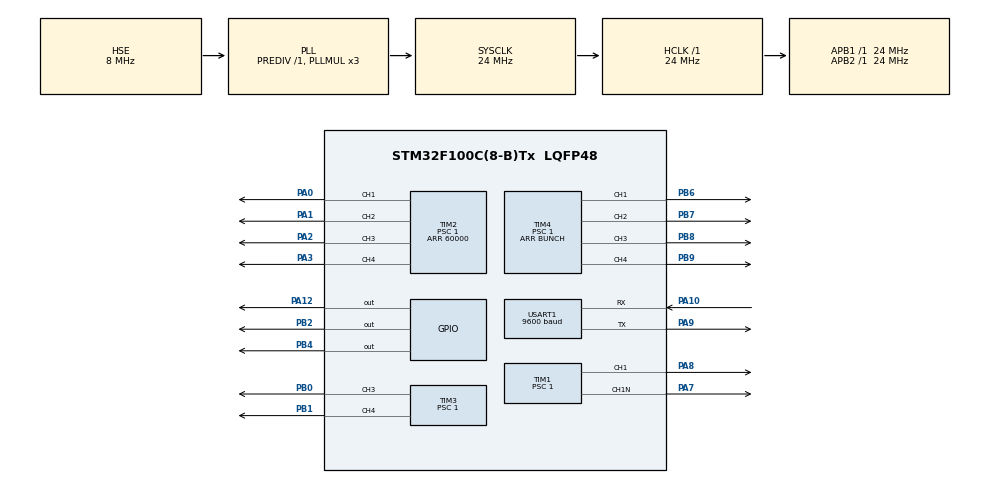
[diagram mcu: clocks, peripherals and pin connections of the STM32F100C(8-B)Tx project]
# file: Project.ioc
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Dma.Request0=USART1_TX
Dma.USART1_TX.0.Direction=DMA_MEMORY_TO_PERIPH
Dma.USART1_TX.0.Instance=DMA1_Channel4
Dma.USART1_TX.0.MemDataAlignment=DMA_MDATAALIGN_BYTE
Dma.USART1_TX.0.MemInc=DMA_MINC_ENABLE
Dma.USART1_TX.0.Mode=DMA_NORMAL
Dma.USART1_TX.0.PeriphDataAlignment=DMA_PDATAALIGN_BYTE
Dma.USART1_TX.0.PeriphInc=DMA_PINC_DISABLE
Dma.USART1_TX.0.Priority=DMA_PRIORITY_LOW
FREERTOS.Tasks01=defaultTask,0,128,StartDefaultTask,Default,NULL
FREERTOS.configTIMER_TASK_STACK_DEPTH=128
FREERTOS.configUSE_TIMERS=1
Mcu.Family=STM32F1
Mcu.Name=STM32F100C(8-B)Tx
Mcu.Package=LQFP48
Mcu.UserConstants=TIMER_PERIOD,5001;BUNCH,60023;BUNCH_DUTY,20000;GAP_PERIOD,2500;GAP_START,2000;GAP_STOP,2200
NVIC.DMA1_Channel4_IRQn=true\:5\:0\:false\:false\:true\:true\:false
NVIC.PriorityGroup=NVIC_PRIORITYGROUP_4
NVIC.TIM1_TRG_COM_TIM17_IRQn=true\:0\:0\:false\:false\:true\:false\:false
NVIC.TIM7_IRQn=true\:0\:0\:false\:false\:true\:false\:false
NVIC.TimeBase=TIM7_IRQn
NVIC.TimeBaseIP=TIM7
NVIC.USART1_IRQn=true\:5\:0\:false\:false\:true\:true\:true
PA0-WKUP.GPIO_Speed=GPIO_SPEED_FREQ_HIGH
PA0-WKUP.Signal=S_TIM2_CH1_ETR
PA1.GPIO_ModeDefaultPP=GPIO_MODE_AF_OD
PA1.GPIO_Speed=GPIO_SPEED_FREQ_HIGH
PA1.Signal=S_TIM2_CH2
PA10.Mode=Asynchronous
PA10.Signal=USART1_RX
PA12.Signal=GPIO_Output
PA13.Mode=Serial_Wire
PA13.Signal=SYS_JTMS-SWDIO
PA14.Mode=Serial_Wire
PA14.Signal=SYS_JTCK-SWCLK
PA2.GPIO_Speed=GPIO_SPEED_FREQ_HIGH
PA2.Signal=S_TIM2_CH3
PA3.GPIO_ModeDefaultPP=GPIO_MODE_AF_OD
PA3.GPIO_Speed=GPIO_SPEED_FREQ_HIGH
PA3.Signal=S_TIM2_CH4
PA7.GPIO_Speed=GPIO_SPEED_FREQ_HIGH
PA7.Mode=PWM Generation1 CH1 CH1N
PA7.Signal=TIM1_CH1N
PA8.GPIO_Speed=GPIO_SPEED_FREQ_HIGH
PA8.Signal=S_TIM1_CH1
PA9.Mode=Asynchronous
PA9.Signal=USART1_TX
PB0.GPIO_Speed=GPIO_SPEED_FREQ_HIGH
PB0.Signal=S_TIM3_CH3
PB1.GPIO_ModeDefaultPP=GPIO_MODE_AF_OD
PB1.GPIO_Speed=GPIO_SPEED_FREQ_HIGH
PB1.Signal=S_TIM3_CH4
PB2.Signal=GPIO_Output
PB4.GPIO_ModeDefaultOutputPP=GPIO_MODE_OUTPUT_OD
PB4.Signal=GPIO_Output
PB6.Signal=S_TIM4_CH1
PB7.Signal=S_TIM4_CH2
PB8.Signal=S_TIM4_CH3
PB9.GPIO_ModeDefaultPP=GPIO_MODE_AF_OD
PB9.GPIO_Speed=GPIO_SPEED_FREQ_HIGH
PB9.Signal=S_TIM4_CH4
PD0-OSC_IN.Mode=HSE-External-Oscillator
PD0-OSC_IN.Signal=RCC_OSC_IN
PD1-OSC_OUT.Mode=HSE-External-Oscillator
PD1-OSC_OUT.Signal=RCC_OSC_OUT
ProjectManager.HeapSize=0x200
ProjectManager.StackSize=0x400
ProjectManager.TargetToolchain=SW4STM32
RCC.AHBFreq_Value=24000000
RCC.APB1Freq_Value=24000000
RCC.APB1TimFreq_Value=24000000
RCC.APB2Freq_Value=24000000
RCC.APB2TimFreq_Value=24000000
RCC.HCLKFreq_Value=24000000
RCC.PLLMUL=RCC_PLL_MUL3
RCC.PLLSource=RCC_PLLSOURCE_HSE
RCC.SYSCLKFreq_VALUE=24000000
RCC.SYSCLKSource=RCC_SYSCLKSOURCE_PLLCLK
SH.S_TIM1_CH1.0=TIM1_CH1,PWM Generation1 CH1 CH1N
SH.S_TIM2_CH1_ETR.0=TIM2_CH1,PWM Generation1 CH1
SH.S_TIM2_CH2.0=TIM2_CH2,PWM Generation2 CH2
SH.S_TIM2_CH3.0=TIM2_CH3,PWM Generation3 CH3
SH.S_TIM2_CH4.0=TIM2_CH4,PWM Generation4 CH4
SH.S_TIM3_CH3.0=TIM3_CH3,PWM Generation3 CH3
SH.S_TIM3_CH4.0=TIM3_CH4,PWM Generation4 CH4
SH.S_TIM4_CH1.0=TIM4_CH1,PWM Generation1 CH1
SH.S_TIM4_CH2.0=TIM4_CH2,PWM Generation2 CH2
SH.S_TIM4_CH3.0=TIM4_CH3,PWM Generation3 CH3
SH.S_TIM4_CH4.0=TIM4_CH4,PWM Generation4 CH4
TIM1.AutoReloadPreload=TIM_AUTORELOAD_PRELOAD_ENABLE
TIM1.Channel-PWM\ Generation1\ CH1\ CH1N=TIM_CHANNEL_1
TIM1.DeadTime=4
TIM1.Period=TIMER_PERIOD
TIM1.Prescaler=1
TIM1.Pulse-PWM\ Generation1\ CH1\ CH1N=TIMER_PERIOD/2
TIM1.TIM_MasterSlaveMode=TIM_MASTERSLAVEMODE_ENABLE
TIM2.Channel-PWM\ Generation1\ CH1=TIM_CHANNEL_1
TIM2.Channel-PWM\ Generation2\ CH2=TIM_CHANNEL_2
TIM2.Channel-PWM\ Generation3\ CH3=TIM_CHANNEL_3
TIM2.Channel-PWM\ Generation4\ CH4=TIM_CHANNEL_4
TIM2.OCPolarity_1=TIM_OCPOLARITY_LOW
TIM2.OCPolarity_3=TIM_OCPOLARITY_LOW
TIM2.Period=60000
TIM2.Prescaler=1
TIM2.Pulse-PWM\ Generation1\ CH1=5000
TIM2.Pulse-PWM\ Generation2\ CH2=10000
TIM2.Pulse-PWM\ Generation3\ CH3=10000
TIM2.Pulse-PWM\ Generation4\ CH4=15000
TIM3.AutoReloadPreload=TIM_AUTORELOAD_PRELOAD_ENABLE
TIM3.Channel-PWM\ Generation3\ CH3=TIM_CHANNEL_3
TIM3.Channel-PWM\ Generation4\ CH4=TIM_CHANNEL_4
TIM3.OCPolarity_3=TIM_OCPOLARITY_LOW
TIM3.Period=GAP_PERIOD
TIM3.Prescaler=1
TIM3.Pulse-PWM\ Generation3\ CH3=GAP_START
TIM3.Pulse-PWM\ Generation4\ CH4=GAP_STOP
TIM3.TIM_MasterSlaveMode=TIM_MASTERSLAVEMODE_ENABLE
TIM4.Channel-PWM\ Generation1\ CH1=TIM_CHANNEL_1
TIM4.Channel-PWM\ Generation2\ CH2=TIM_CHANNEL_2
TIM4.Channel-PWM\ Generation3\ CH3=TIM_CHANNEL_3
TIM4.Channel-PWM\ Generation4\ CH4=TIM_CHANNEL_4
TIM4.OCPolarity_2=TIM_OCPOLARITY_LOW
TIM4.OCPolarity_3=TIM_OCPOLARITY_LOW
TIM4.Period=BUNCH
TIM4.Prescaler=1
TIM4.Pulse-PWM\ Generation1\ CH1=1
TIM4.Pulse-PWM\ Generation2\ CH2=BUNCH_DUTY
TIM4.Pulse-PWM\ Generation3\ CH3=15000
TIM4.Pulse-PWM\ Generation4\ CH4=20000
TIM4.TIM_MasterSlaveMode=TIM_MASTERSLAVEMODE_ENABLE
USART1.BaudRate=9600
USART1.StopBits=STOPBITS_2
USART1.VirtualMode=VM_ASYNC
VP_FREERTOS_VS_ENABLE.Mode=Enabled
VP_SYS_VS_tim7.Mode=TIM7
VP_TIM1_VS_ClockSourceINT.Mode=Internal
VP_TIM1_VS_ClockSourceITR.Mode=TriggerSource_ITR0
VP_TIM2_VS_ClockSourceINT.Mode=Internal
VP_TIM2_VS_ClockSourceITR.Mode=TriggerSource_ITR0
VP_TIM2_VS_ControllerModeTrigger.Mode=Trigger Mode
VP_TIM3_VS_ClockSourceINT.Mode=Internal
VP_TIM3_VS_ClockSourceITR.Mode=TriggerSource_ITR0
VP_TIM3_VS_ControllerModeTrigger.Mode=Trigger Mode
VP_TIM4_VS_ClockSourceINT.Mode=Internal
VP_TIM4_VS_ClockSourceITR.Mode=TriggerSource_ITR0
board=custom

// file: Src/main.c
/* USER CODE BEGIN Header */
/**
  * @brief  Function implementing the defaultTask thread.
  * @param  argument: Not used
  * @retval None
  */
/* USER CODE END Header */

#include "main.h"
#include "cmsis_os.h"

/* USER CODE BEGIN Includes */
#include "common.h"
/* USER CODE END Includes */

TIM_HandleTypeDef htim1;
TIM_HandleTypeDef htim2;
TIM_HandleTypeDef htim3;
TIM_HandleTypeDef htim4;

UART_HandleTypeDef huart1;
DMA_HandleTypeDef hdma_usart1_tx;

osThreadId defaultTaskHandle;
/* USER CODE BEGIN PV */
/* Private variables ---------------------------------------------------------*/

/* USER CODE END PV */

void SystemClock_Config(void);
static void MX_GPIO_Init(void);
static void MX_DMA_Init(void);
static void MX_TIM1_Init(void);
static void MX_TIM3_Init(void);
static void MX_USART1_UART_Init(void);
static void MX_TIM2_Init(void);
static void MX_TIM4_Init(void);
void StartDefaultTask(void const * argument);

/* USER CODE BEGIN PFP */
/* Private function prototypes -----------------------------------------------*/
static void Init_GPIO_OpenDrain(void);
/* USER CODE END PFP */

/* USER CODE BEGIN 0 */
volatile UART_t Uart;
volatile State_t State;
/* USER CODE END 0 */

int main(void)
{

  /* MCU Configuration--------------------------------------------------------*/

  /* Reset of all peripherals, Initializes the Flash interface and the Systick. */
  HAL_Init();

  /* Configure the system clock */
  SystemClock_Config();

  /* Initialize all configured peripherals */
  MX_GPIO_Init();
  MX_DMA_Init();
  MX_TIM1_Init();
  MX_TIM3_Init();
  MX_USART1_UART_Init();
  MX_TIM2_Init();
  MX_TIM4_Init();
  /* USER CODE BEGIN 2 */

  //Init_GPIO_OpenDrain();
  HAL_TIM_Base_Start(&htim2);
  HAL_TIM_Base_Start(&htim3);
  HAL_TIM_Base_Start(&htim4);
  HAL_TIM_Base_Start(&htim1);
  /* USER CODE END 2 */

  /* Create the thread(s) */
  /* definition and creation of defaultTask */
  osThreadDef(defaultTask, StartDefaultTask, osPriorityNormal, 0, 128);
  defaultTaskHandle = osThreadCreate(osThread(defaultTask), NULL);

  /* Start scheduler */
  osKernelStart();

  /* We should never get here as control is now taken by the scheduler */

  /* Infinite loop */
  while (1)
  {

  }
}

void SystemClock_Config(void)
{
  RCC_OscInitTypeDef RCC_OscInitStruct = {0};
  RCC_ClkInitTypeDef RCC_ClkInitStruct = {0};

  /**Initializes the CPU, AHB and APB busses clocks
  */
  RCC_OscInitStruct.OscillatorType = RCC_OSCILLATORTYPE_HSE;
  RCC_OscInitStruct.HSEState = RCC_HSE_ON;
  RCC_OscInitStruct.HSEPredivValue = RCC_HSE_PREDIV_DIV1;
  RCC_OscInitStruct.PLL.PLLState = RCC_PLL_ON;
  RCC_OscInitStruct.PLL.PLLSource = RCC_PLLSOURCE_HSE;
  RCC_OscInitStruct.PLL.PLLMUL = RCC_PLL_MUL3;
  if (HAL_RCC_OscConfig(&RCC_OscInitStruct) != HAL_OK)
  {
    Error_Handler();
  }
  /**Initializes the CPU, AHB and APB busses clocks
  */
  RCC_ClkInitStruct.ClockType = RCC_CLOCKTYPE_HCLK|RCC_CLOCKTYPE_SYSCLK
                              |RCC_CLOCKTYPE_PCLK1|RCC_CLOCKTYPE_PCLK2;
  RCC_ClkInitStruct.SYSCLKSource = RCC_SYSCLKSOURCE_PLLCLK;
  RCC_ClkInitStruct.AHBCLKDivider = RCC_SYSCLK_DIV1;
  RCC_ClkInitStruct.APB1CLKDivider = RCC_HCLK_DIV1;
  RCC_ClkInitStruct.APB2CLKDivider = RCC_HCLK_DIV1;

  if (HAL_RCC_ClockConfig(&RCC_ClkInitStruct, FLASH_LATENCY_0) != HAL_OK)
  {
    Error_Handler();
  }
}

static void MX_TIM1_Init(void)
{

  TIM_ClockConfigTypeDef sClockSourceConfig = {0};
  TIM_SlaveConfigTypeDef sSlaveConfig = {0};
  TIM_MasterConfigTypeDef sMasterConfig = {0};
  TIM_OC_InitTypeDef sConfigOC = {0};
  TIM_BreakDeadTimeConfigTypeDef sBreakDeadTimeConfig = {0};

  htim1.Instance = TIM1;
  htim1.Init.Prescaler = 1;
  htim1.Init.CounterMode = TIM_COUNTERMODE_UP;
  htim1.Init.Period = TIMER_PERIOD;
  htim1.Init.ClockDivision = TIM_CLOCKDIVISION_DIV1;
  htim1.Init.RepetitionCounter = 0;
  htim1.Init.AutoReloadPreload = TIM_AUTORELOAD_PRELOAD_ENABLE;
  if (HAL_TIM_Base_Init(&htim1) != HAL_OK)
  {
    Error_Handler();
  }
  sClockSourceConfig.ClockSource = TIM_CLOCKSOURCE_INTERNAL;
  if (HAL_TIM_ConfigClockSource(&htim1, &sClockSourceConfig) != HAL_OK)
  {
    Error_Handler();
  }
  if (HAL_TIM_PWM_Init(&htim1) != HAL_OK)
  {
    Error_Handler();
  }
  sSlaveConfig.SlaveMode = TIM_SLAVEMODE_DISABLE;
  sSlaveConfig.InputTrigger = TIM_TS_ITR0;
  if (HAL_TIM_SlaveConfigSynchronization(&htim1, &sSlaveConfig) != HAL_OK)
  {
    Error_Handler();
  }
  sMasterConfig.MasterOutputTrigger = TIM_TRGO_RESET;
  sMasterConfig.MasterSlaveMode = TIM_MASTERSLAVEMODE_ENABLE;
  if (HAL_TIMEx_MasterConfigSynchronization(&htim1, &sMasterConfig) != HAL_OK)
  {
    Error_Handler();
  }
  sConfigOC.OCMode = TIM_OCMODE_PWM1;
  sConfigOC.Pulse = TIMER_PERIOD/2;
  sConfigOC.OCPolarity = TIM_OCPOLARITY_HIGH;
  sConfigOC.OCNPolarity = TIM_OCNPOLARITY_HIGH;
  sConfigOC.OCFastMode = TIM_OCFAST_DISABLE;
  sConfigOC.OCIdleState = TIM_OCIDLESTATE_RESET;
  sConfigOC.OCNIdleState = TIM_OCNIDLESTATE_RESET;
  if (HAL_TIM_PWM_ConfigChannel(&htim1, &sConfigOC, TIM_CHANNEL_1) != HAL_OK)
  {
    Error_Handler();
  }
  sBreakDeadTimeConfig.OffStateRunMode = TIM_OSSR_DISABLE;
  sBreakDeadTimeConfig.OffStateIDLEMode = TIM_OSSI_DISABLE;
  sBreakDeadTimeConfig.LockLevel = TIM_LOCKLEVEL_OFF;
  sBreakDeadTimeConfig.DeadTime = 4;
  sBreakDeadTimeConfig.BreakState = TIM_BREAK_DISABLE;
  sBreakDeadTimeConfig.BreakPolarity = TIM_BREAKPOLARITY_HIGH;
  sBreakDeadTimeConfig.AutomaticOutput = TIM_AUTOMATICOUTPUT_DISABLE;
  if (HAL_TIMEx_ConfigBreakDeadTime(&htim1, &sBreakDeadTimeConfig) != HAL_OK)
  {
    Error_Handler();
  }
  HAL_TIM_MspPostInit(&htim1);

}

static void MX_TIM2_Init(void)
{

  TIM_ClockConfigTypeDef sClockSourceConfig = {0};
  TIM_SlaveConfigTypeDef sSlaveConfig = {0};
  TIM_MasterConfigTypeDef sMasterConfig = {0};
  TIM_OC_InitTypeDef sConfigOC = {0};

  htim2.Instance = TIM2;
  htim2.Init.Prescaler = 1;
  htim2.Init.CounterMode = TIM_COUNTERMODE_UP;
  htim2.Init.Period = 60000;
  htim2.Init.ClockDivision = TIM_CLOCKDIVISION_DIV1;
  htim2.Init.AutoReloadPreload = TIM_AUTORELOAD_PRELOAD_DISABLE;
  if (HAL_TIM_Base_Init(&htim2) != HAL_OK)
  {
    Error_Handler();
  }
  sClockSourceConfig.ClockSource = TIM_CLOCKSOURCE_INTERNAL;
  if (HAL_TIM_ConfigClockSource(&htim2, &sClockSourceConfig) != HAL_OK)
  {
    Error_Handler();
  }
  if (HAL_TIM_PWM_Init(&htim2) != HAL_OK)
  {
    Error_Handler();
  }
  sSlaveConfig.SlaveMode = TIM_SLAVEMODE_TRIGGER;
  sSlaveConfig.InputTrigger = TIM_TS_ITR0;
  if (HAL_TIM_SlaveConfigSynchronization(&htim2, &sSlaveConfig) != HAL_OK)
  {
    Error_Handler();
  }
  sMasterConfig.MasterOutputTrigger = TIM_TRGO_RESET;
  sMasterConfig.MasterSlaveMode = TIM_MASTERSLAVEMODE_DISABLE;
  if (HAL_TIMEx_MasterConfigSynchronization(&htim2, &sMasterConfig) != HAL_OK)
  {
    Error_Handler();
  }
  sConfigOC.OCMode = TIM_OCMODE_PWM1;
  sConfigOC.Pulse = 5000;
  sConfigOC.OCPolarity = TIM_OCPOLARITY_LOW;
  sConfigOC.OCFastMode = TIM_OCFAST_DISABLE;
  if (HAL_TIM_PWM_ConfigChannel(&htim2, &sConfigOC, TIM_CHANNEL_1) != HAL_OK)
  {
    Error_Handler();
  }
  sConfigOC.Pulse = 10000;
  sConfigOC.OCPolarity = TIM_OCPOLARITY_HIGH;
  if (HAL_TIM_PWM_ConfigChannel(&htim2, &sConfigOC, TIM_CHANNEL_2) != HAL_OK)
  {
    Error_Handler();
  }
  sConfigOC.OCPolarity = TIM_OCPOLARITY_LOW;
  if (HAL_TIM_PWM_ConfigChannel(&htim2, &sConfigOC, TIM_CHANNEL_3) != HAL_OK)
  {
    Error_Handler();
  }
  sConfigOC.Pulse = 15000;
  sConfigOC.OCPolarity = TIM_OCPOLARITY_HIGH;
  if (HAL_TIM_PWM_ConfigChannel(&htim2, &sConfigOC, TIM_CHANNEL_4) != HAL_OK)
  {
    Error_Handler();
  }
  HAL_TIM_MspPostInit(&htim2);

}

static void MX_TIM3_Init(void)
{

  TIM_ClockConfigTypeDef sClockSourceConfig = {0};
  TIM_SlaveConfigTypeDef sSlaveConfig = {0};
  TIM_MasterConfigTypeDef sMasterConfig = {0};
  TIM_OC_InitTypeDef sConfigOC = {0};

  htim3.Instance = TIM3;
  htim3.Init.Prescaler = 1;
  htim3.Init.CounterMode = TIM_COUNTERMODE_UP;
  htim3.Init.Period = GAP_PERIOD;
  htim3.Init.ClockDivision = TIM_CLOCKDIVISION_DIV1;
  htim3.Init.AutoReloadPreload = TIM_AUTORELOAD_PRELOAD_ENABLE;
  if (HAL_TIM_Base_Init(&htim3) != HAL_OK)
  {
    Error_Handler();
  }
  sClockSourceConfig.ClockSource = TIM_CLOCKSOURCE_INTERNAL;
  if (HAL_TIM_ConfigClockSource(&htim3, &sClockSourceConfig) != HAL_OK)
  {
    Error_Handler();
  }
  if (HAL_TIM_PWM_Init(&htim3) != HAL_OK)
  {
    Error_Handler();
  }
  sSlaveConfig.SlaveMode = TIM_SLAVEMODE_TRIGGER;
  sSlaveConfig.InputTrigger = TIM_TS_ITR0;
  if (HAL_TIM_SlaveConfigSynchronization(&htim3, &sSlaveConfig) != HAL_OK)
  {
    Error_Handler();
  }
  sMasterConfig.MasterOutputTrigger = TIM_TRGO_RESET;
  sMasterConfig.MasterSlaveMode = TIM_MASTERSLAVEMODE_ENABLE;
  if (HAL_TIMEx_MasterConfigSynchronization(&htim3, &sMasterConfig) != HAL_OK)
  {
    Error_Handler();
  }
  sConfigOC.OCMode = TIM_OCMODE_PWM1;
  sConfigOC.Pulse = GAP_START;
  sConfigOC.OCPolarity = TIM_OCPOLARITY_LOW;
  sConfigOC.OCFastMode = TIM_OCFAST_DISABLE;
  if (HAL_TIM_PWM_ConfigChannel(&htim3, &sConfigOC, TIM_CHANNEL_3) != HAL_OK)
  {
    Error_Handler();
  }
  sConfigOC.Pulse = GAP_STOP;
  sConfigOC.OCPolarity = TIM_OCPOLARITY_HIGH;
  if (HAL_TIM_PWM_ConfigChannel(&htim3, &sConfigOC, TIM_CHANNEL_4) != HAL_OK)
  {
    Error_Handler();
  }
  HAL_TIM_MspPostInit(&htim3);

}

static void MX_TIM4_Init(void)
{

  TIM_ClockConfigTypeDef sClockSourceConfig = {0};
  TIM_SlaveConfigTypeDef sSlaveConfig = {0};
  TIM_MasterConfigTypeDef sMasterConfig = {0};
  TIM_OC_InitTypeDef sConfigOC = {0};

  htim4.Instance = TIM4;
  htim4.Init.Prescaler = 1;
  htim4.Init.CounterMode = TIM_COUNTERMODE_UP;
  htim4.Init.Period = BUNCH;
  htim4.Init.ClockDivision = TIM_CLOCKDIVISION_DIV1;
  htim4.Init.AutoReloadPreload = TIM_AUTORELOAD_PRELOAD_DISABLE;
  if (HAL_TIM_Base_Init(&htim4) != HAL_OK)
  {
    Error_Handler();
  }
  sClockSourceConfig.ClockSource = TIM_CLOCKSOURCE_INTERNAL;
  if (HAL_TIM_ConfigClockSource(&htim4, &sClockSourceConfig) != HAL_OK)
  {
    Error_Handler();
  }
  if (HAL_TIM_PWM_Init(&htim4) != HAL_OK)
  {
    Error_Handler();
  }
  sSlaveConfig.SlaveMode = TIM_SLAVEMODE_DISABLE;
  sSlaveConfig.InputTrigger = TIM_TS_ITR0;
  if (HAL_TIM_SlaveConfigSynchronization(&htim4, &sSlaveConfig) != HAL_OK)
  {
    Error_Handler();
  }
  sMasterConfig.MasterOutputTrigger = TIM_TRGO_RESET;
  sMasterConfig.MasterSlaveMode = TIM_MASTERSLAVEMODE_ENABLE;
  if (HAL_TIMEx_MasterConfigSynchronization(&htim4, &sMasterConfig) != HAL_OK)
  {
    Error_Handler();
  }
  sConfigOC.OCMode = TIM_OCMODE_PWM1;
  sConfigOC.Pulse = 1;
  sConfigOC.OCPolarity = TIM_OCPOLARITY_HIGH;
  sConfigOC.OCFastMode = TIM_OCFAST_DISABLE;
  if (HAL_TIM_PWM_ConfigChannel(&htim4, &sConfigOC, TIM_CHANNEL_1) != HAL_OK)
  {
    Error_Handler();
  }
  sConfigOC.Pulse = BUNCH_DUTY;
  sConfigOC.OCPolarity = TIM_OCPOLARITY_LOW;
  if (HAL_TIM_PWM_ConfigChannel(&htim4, &sConfigOC, TIM_CHANNEL_2) != HAL_OK)
  {
    Error_Handler();
  }
  sConfigOC.Pulse = 15000;
  if (HAL_TIM_PWM_ConfigChannel(&htim4, &sConfigOC, TIM_CHANNEL_3) != HAL_OK)
  {
    Error_Handler();
  }
  sConfigOC.Pulse = 20000;
  sConfigOC.OCPolarity = TIM_OCPOLARITY_HIGH;
  if (HAL_TIM_PWM_ConfigChannel(&htim4, &sConfigOC, TIM_CHANNEL_4) != HAL_OK)
  {
    Error_Handler();
  }
  HAL_TIM_MspPostInit(&htim4);

}

static void MX_USART1_UART_Init(void)
{

  huart1.Instance = USART1;
  huart1.Init.BaudRate = 9600;
  huart1.Init.WordLength = UART_WORDLENGTH_8B;
  huart1.Init.StopBits = UART_STOPBITS_2;
  huart1.Init.Parity = UART_PARITY_NONE;
  huart1.Init.Mode = UART_MODE_TX_RX;
  huart1.Init.HwFlowCtl = UART_HWCONTROL_NONE;
  huart1.Init.OverSampling = UART_OVERSAMPLING_16;
  if (HAL_UART_Init(&huart1) != HAL_OK)
  {
    Error_Handler();
  }

}

static void MX_DMA_Init(void)
{
  /* DMA controller clock enable */
  __HAL_RCC_DMA1_CLK_ENABLE();

  /* DMA interrupt init */
  /* DMA1_Channel4_IRQn interrupt configuration */
  HAL_NVIC_SetPriority(DMA1_Channel4_IRQn, 5, 0);
  HAL_NVIC_EnableIRQ(DMA1_Channel4_IRQn);

}

static void MX_GPIO_Init(void)
{
  GPIO_InitTypeDef GPIO_InitStruct = {0};

  /* GPIO Ports Clock Enable */
  __HAL_RCC_GPIOD_CLK_ENABLE();
  __HAL_RCC_GPIOA_CLK_ENABLE();
  __HAL_RCC_GPIOB_CLK_ENABLE();

  /*Configure GPIO pin Output Level */
  HAL_GPIO_WritePin(GPIOB, GPIO_PIN_2|GPIO_PIN_4, GPIO_PIN_RESET);

  /*Configure GPIO pin Output Level */
  HAL_GPIO_WritePin(GPIOA, GPIO_PIN_12, GPIO_PIN_RESET);

  /*Configure GPIO pin : PB2 */
  GPIO_InitStruct.Pin = GPIO_PIN_2;
  GPIO_InitStruct.Mode = GPIO_MODE_OUTPUT_PP;
  GPIO_InitStruct.Pull = GPIO_NOPULL;
  GPIO_InitStruct.Speed = GPIO_SPEED_FREQ_LOW;
  HAL_GPIO_Init(GPIOB, &GPIO_InitStruct);

  /*Configure GPIO pin : PA12 */
  GPIO_InitStruct.Pin = GPIO_PIN_12;
  GPIO_InitStruct.Mode = GPIO_MODE_OUTPUT_PP;
  GPIO_InitStruct.Pull = GPIO_NOPULL;
  GPIO_InitStruct.Speed = GPIO_SPEED_FREQ_LOW;
  HAL_GPIO_Init(GPIOA, &GPIO_InitStruct);

  /*Configure GPIO pin : PB4 */
  GPIO_InitStruct.Pin = GPIO_PIN_4;
  GPIO_InitStruct.Mode = GPIO_MODE_OUTPUT_OD;
  GPIO_InitStruct.Pull = GPIO_NOPULL;
  GPIO_InitStruct.Speed = GPIO_SPEED_FREQ_LOW;
  HAL_GPIO_Init(GPIOB, &GPIO_InitStruct);

}

/* USER CODE BEGIN 4 */
void Init_GPIO_OpenDrain(){
  GPIO_InitTypeDef GPIO_InitStruct;

  GPIO_InitStruct.Pull = GPIO_NOPULL;
  GPIO_InitStruct.Speed = GPIO_SPEED_FREQ_HIGH;
  GPIO_InitStruct.Pin = GPIO_PIN_1;
  GPIO_InitStruct.Mode = GPIO_MODE_AF_OD;
  HAL_GPIO_Init(GPIOB, &GPIO_InitStruct);
}
/* USER CODE END 4 */

void StartDefaultTask(void const * argument)
{

  /* USER CODE BEGIN 5 */
  /* Infinite loop */
	PM_Init();
	PM_Task();
  /*for(;;)
  {
	  HAL_GPIO_TogglePin(GPIOA, GPIO_PIN_12);
	  osDelay(500);
  }*/

  /* USER CODE END 5 */
}

void HAL_TIM_PeriodElapsedCallback(TIM_HandleTypeDef *htim)
{
  if (htim->Instance == TIM7) {
    HAL_IncTick();
  }
}

void Error_Handler(void)
{
  while(1)
  {
  }
}

/************************ (C) COPYRIGHT STMicroelectronics *****END OF FILE****/
